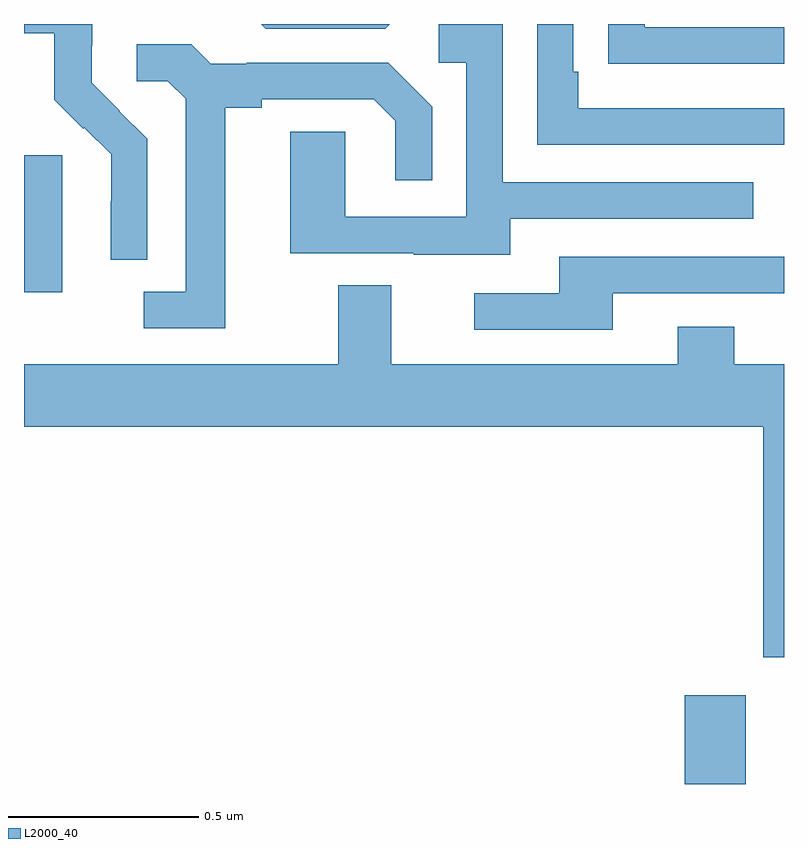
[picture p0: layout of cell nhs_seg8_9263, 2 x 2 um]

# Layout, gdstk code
import gdstk
lib = gdstk.Library(unit=1e-6, precision=1e-09)
def R(c, l, rs):  # rectangles x0, y0, x1, y1
    for r in rs: c.add(gdstk.rectangle(r[:2], r[2:], *l))
def P(c, l, *ps):  # polygons
    for p in ps: c.add(gdstk.Polygon(p, *l))
L2000_40 = (2000, 40)

nhs_seg8_9263 = lib.new_cell('nhs_seg8_9263')
R(nhs_seg8_9263, L2000_40, [(235.739,1108.9,235.899,1109.134), (234,1110.194,234.1,1110.555)])
P(nhs_seg8_9263, L2000_40, [(236,1110.891),(235.633,1110.891),(235.633,1110.9),(235.537,1110.9),(235.537,1110.796),(235.639,1110.796),(235.639,1110.795),(236,1110.795)],
  [(234.324,1110.598),(234.251,1110.671),(234.252,1110.672),(234.178,1110.746),(234.178,1110.843),(234.18,1110.843),(234.18,1110.9),(234,1110.9),(234,1110.876),(234.079,1110.876),(234.079,1110.701),(234.156,1110.624),(234.159,1110.627),(234.23,1110.557),(234.23,1110.434),(234.228,1110.434),(234.228,1110.28),(234.324,1110.28)],
  [(234.963,1110.9),(234.624,1110.9),(234.636,1110.888),(234.951,1110.888)],
  [(236,1110.678),(235.459,1110.678),(235.459,1110.775),(235.446,1110.775),(235.446,1110.9),(235.35,1110.9),(235.35,1110.582),(236,1110.582)],
  [(235.279,1110.387),(235.919,1110.387),(235.919,1110.483),(235.26,1110.483),(235.26,1110.899),(235.092,1110.899),(235.092,1110.798),(235.164,1110.798),(235.164,1110.393),(234.846,1110.393),(234.846,1110.617),(234.701,1110.617),(234.701,1110.297),(235.025,1110.297),(235.025,1110.293),(235.279,1110.293)],
  [(234.529,1110.68),(234.625,1110.68),(234.625,1110.702),(234.92,1110.702),(234.977,1110.645),(234.977,1110.489),(235.074,1110.489),(235.074,1110.682),(234.958,1110.798),(234.586,1110.798),(234.586,1110.795),(234.492,1110.795),(234.44,1110.847),(234.297,1110.847),(234.297,1110.75),(234.378,1110.75),(234.425,1110.703),(234.425,1110.195),(234.315,1110.195),(234.315,1110.099),(234.529,1110.099)],
  [(235.549,1110.192),(236,1110.192),(236,1110.288),(235.409,1110.288),(235.409,1110.192),(235.185,1110.192),(235.185,1110.096),(235.549,1110.096)],
  [(236,1110.004),(235.869,1110.004),(235.869,1110.103),(235.721,1110.103),(235.721,1110.004),(234.967,1110.004),(234.967,1110.212),(234.827,1110.212),(234.827,1110.004),(234,1110.004),(234,1109.84),(235.946,1109.84),(235.946,1109.234),(236,1109.234)])

lib.write_gds('nhs_seg8_9263.gds')
